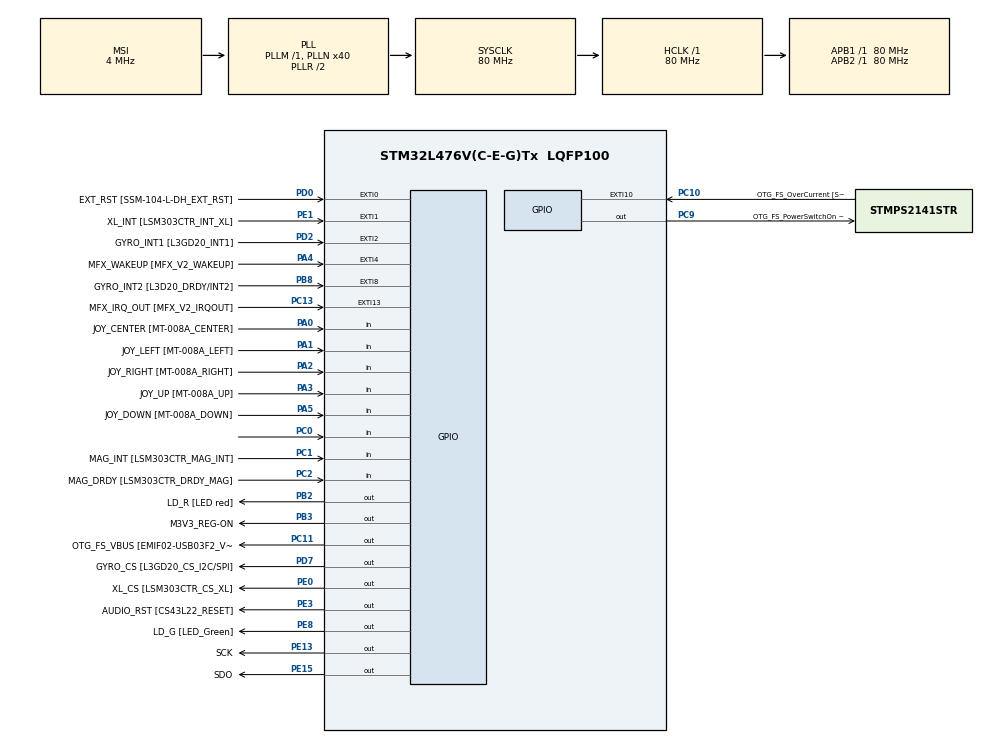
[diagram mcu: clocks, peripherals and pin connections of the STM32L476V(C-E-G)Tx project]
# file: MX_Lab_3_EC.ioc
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Mcu.Family=STM32L4
Mcu.Name=STM32L476V(C-E-G)Tx
Mcu.Package=LQFP100
NVIC.PriorityGroup=NVIC_PRIORITYGROUP_4
PA0.GPIO_Label=JOY_CENTER [MT-008A_CENTER]
PA0.GPIO_Mode=GPIO_MODE_INPUT
PA0.GPIO_PuPd=GPIO_PULLDOWN
PA0.Signal=GPIO_Input
PA1.GPIO_Label=JOY_LEFT [MT-008A_LEFT]
PA1.GPIO_Mode=GPIO_MODE_INPUT
PA1.GPIO_PuPd=GPIO_PULLDOWN
PA1.Signal=GPIO_Input
PA10.GPIO_Label=COM2 [GH08172T_COM2]
PA10.GPIO_Mode=GPIO_MODE_AF_PP
PA10.GPIO_PuPd=GPIO_NOPULL
PA10.GPIO_Speed=GPIO_SPEED_FREQ_LOW
PA10.Signal=LCD_COM2
PA11.GPIO_Label=OTG_FS_DM [EMIF02-USB03F2_D-out]
PA11.GPIO_Mode=GPIO_MODE_AF_PP
PA11.GPIO_PuPd=GPIO_NOPULL
PA11.GPIO_Speed=GPIO_SPEED_FREQ_VERY_HIGH
PA11.Signal=USB_OTG_FS_DM
PA12.GPIO_Label=OTG_FS_DP [EMIF02-USB03F2_D+out]
PA12.GPIO_Mode=GPIO_MODE_AF_PP
PA12.GPIO_PuPd=GPIO_NOPULL
PA12.GPIO_Speed=GPIO_SPEED_FREQ_VERY_HIGH
PA12.Signal=USB_OTG_FS_DP
PA13\ (JTMS-SWDIO).GPIO_Label=SWDIO
PA13\ (JTMS-SWDIO).Mode=Serial_Wire
PA13\ (JTMS-SWDIO).Signal=SYS_JTMS-SWDIO
PA14\ (JTCK-SWCLK).GPIO_Label=SWCLK
PA14\ (JTCK-SWCLK).Mode=Serial_Wire
PA14\ (JTCK-SWCLK).Signal=SYS_JTCK-SWCLK
PA15\ (JTDI).GPIO_Label=SEG10 [GH08172T_SEG10]
PA15\ (JTDI).GPIO_Mode=GPIO_MODE_AF_PP
PA15\ (JTDI).GPIO_PuPd=GPIO_NOPULL
PA15\ (JTDI).GPIO_Speed=GPIO_SPEED_FREQ_LOW
PA15\ (JTDI).Signal=LCD_SEG17
PA2.GPIO_Label=JOY_RIGHT [MT-008A_RIGHT]
PA2.GPIO_Mode=GPIO_MODE_INPUT
PA2.GPIO_PuPd=GPIO_PULLDOWN
PA2.Signal=GPIO_Input
PA3.GPIO_Label=JOY_UP [MT-008A_UP]
PA3.GPIO_Mode=GPIO_MODE_INPUT
PA3.GPIO_PuPd=GPIO_PULLDOWN
PA3.Signal=GPIO_Input
PA4.GPIO_Label=MFX_WAKEUP [MFX_V2_WAKEUP]
PA4.GPIO_ModeDefaultEXTI=GPIO_MODE_EVT_RISING
PA4.GPIO_PuPd=GPIO_NOPULL
PA4.Signal=GPXTI4
PA5.GPIO_Label=JOY_DOWN [MT-008A_DOWN]
PA5.GPIO_Mode=GPIO_MODE_INPUT
PA5.GPIO_PuPd=GPIO_PULLDOWN
PA5.Signal=GPIO_Input
PA6.GPIO_Label=SEG23 [GH08172T_SEG23]
PA6.GPIO_Mode=GPIO_MODE_AF_PP
PA6.GPIO_PuPd=GPIO_NOPULL
PA6.GPIO_Speed=GPIO_SPEED_FREQ_LOW
PA6.Signal=LCD_SEG3
PA7.GPIO_Label=SEG0 [GH08172T_SEG0]
PA7.GPIO_Mode=GPIO_MODE_AF_PP
PA7.GPIO_PuPd=GPIO_NOPULL
PA7.GPIO_Speed=GPIO_SPEED_FREQ_LOW
PA7.Signal=LCD_SEG4
PA8.GPIO_Label=COM0 [GH08172T_COM0]
PA8.GPIO_Mode=GPIO_MODE_AF_PP
PA8.GPIO_PuPd=GPIO_NOPULL
PA8.GPIO_Speed=GPIO_SPEED_FREQ_LOW
PA8.Signal=LCD_COM0
PA9.GPIO_Label=COM1 [GH08172T_COM1]
PA9.GPIO_Mode=GPIO_MODE_AF_PP
PA9.GPIO_PuPd=GPIO_NOPULL
PA9.GPIO_Speed=GPIO_SPEED_FREQ_LOW
PA9.Signal=LCD_COM1
PB0.GPIO_Label=SEG21 [GH08172T_SEG21]
PB0.GPIO_Mode=GPIO_MODE_AF_PP
PB0.GPIO_PuPd=GPIO_NOPULL
PB0.GPIO_Speed=GPIO_SPEED_FREQ_LOW
PB0.Signal=LCD_SEG5
PB1.GPIO_Label=SEG2 [GH08172T_SEG2]
PB1.GPIO_Mode=GPIO_MODE_AF_PP
PB1.GPIO_PuPd=GPIO_NOPULL
PB1.GPIO_Speed=GPIO_SPEED_FREQ_LOW
PB1.Signal=LCD_SEG6
PB10.GPIO_Label=MFX_I2C_SLC [MFX_V2_I2C_SCL]
PB10.GPIO_Mode=GPIO_MODE_AF_OD
PB10.GPIO_Pu=GPIO_PULLUP
PB10.GPIO_Speed=GPIO_SPEED_FREQ_VERY_HIGH
PB10.Signal=I2C2_SCL
PB11.GPIO_Label=MFX_I2C_SDA [MFX_V2_I2C_SDA]
PB11.GPIO_Mode=GPIO_MODE_AF_OD
PB11.GPIO_Pu=GPIO_PULLUP
PB11.GPIO_Speed=GPIO_SPEED_FREQ_VERY_HIGH
PB11.Signal=I2C2_SDA
PB12.GPIO_Label=SEG20 [GH08172T_SEG20]
PB12.GPIO_Mode=GPIO_MODE_AF_PP
PB12.GPIO_PuPd=GPIO_NOPULL
PB12.GPIO_Speed=GPIO_SPEED_FREQ_LOW
PB12.Signal=LCD_SEG12
PB13.GPIO_Label=SEG3 [GH08172T_SEG3]
PB13.GPIO_Mode=GPIO_MODE_AF_PP
PB13.GPIO_PuPd=GPIO_NOPULL
PB13.GPIO_Speed=GPIO_SPEED_FREQ_LOW
PB13.Signal=LCD_SEG13
PB14.GPIO_Label=SEG19 [GH08172T_SEG19]
PB14.GPIO_Mode=GPIO_MODE_AF_PP
PB14.GPIO_PuPd=GPIO_NOPULL
PB14.GPIO_Speed=GPIO_SPEED_FREQ_LOW
PB14.Signal=LCD_SEG14
PB15.GPIO_Label=SEG4 [GH08172T_SEG4]
PB15.GPIO_Mode=GPIO_MODE_AF_PP
PB15.GPIO_PuPd=GPIO_NOPULL
PB15.GPIO_Speed=GPIO_SPEED_FREQ_LOW
PB15.Signal=LCD_SEG15
PB2.GPIO_Label=LD_R [LED red]
PB2.GPIO_ModeDefaultOutputPP=GPIO_MODE_OUTPUT_PP
PB2.GPIO_PuPd=GPIO_PULLUP
PB2.GPIO_Speed=GPIO_SPEED_FREQ_VERY_HIGH
PB2.Signal=GPIO_Output
PB3\ (JTDO-TRACESWO).GPIO_Label=M3V3_REG-ON
PB3\ (JTDO-TRACESWO).GPIO_ModeDefaultOutputPP=GPIO_MODE_OUTPUT_PP
PB3\ (JTDO-TRACESWO).GPIO_PuPd=GPIO_NOPULL
PB3\ (JTDO-TRACESWO).GPIO_Speed=GPIO_SPEED_FREQ_LOW
PB3\ (JTDO-TRACESWO).Signal=GPIO_Output
PB4\ (NJTRST).GPIO_Label=SEG11 [GH08172T_SEG11]
PB4\ (NJTRST).GPIO_Mode=GPIO_MODE_AF_PP
PB4\ (NJTRST).GPIO_PuPd=GPIO_NOPULL
PB4\ (NJTRST).GPIO_Speed=GPIO_SPEED_FREQ_LOW
PB4\ (NJTRST).Signal=LCD_SEG8
PB5.GPIO_Label=SEG12 [GH08172T_SEG12]
PB5.GPIO_Mode=GPIO_MODE_AF_PP
PB5.GPIO_PuPd=GPIO_NOPULL
PB5.GPIO_Speed=GPIO_SPEED_FREQ_LOW
PB5.Signal=LCD_SEG9
PB6.GPIO_FM6=__NULL
PB6.GPIO_Label=I2C1_SCL [SSM-104-L-DH_SCL]
PB6.GPIO_Mode=GPIO_MODE_AF_OD
PB6.GPIO_Pu=GPIO_PULLUP
PB6.GPIO_Speed=GPIO_SPEED_FREQ_VERY_HIGH
PB6.Signal=I2C1_SCL
PB7.GPIO_FM7=__NULL
PB7.GPIO_Label=I2C1_SDA [SSM-104-L-DH_SDA]
PB7.GPIO_Mode=GPIO_MODE_AF_OD
PB7.GPIO_Pu=GPIO_PULLUP
PB7.GPIO_Speed=GPIO_SPEED_FREQ_VERY_HIGH
PB7.Signal=I2C1_SDA
PB8.GPIO_Label=GYRO_INT2 [L3D20_DRDY/INT2]
PB8.GPIO_ModeDefaultEXTI=GPIO_MODE_EVT_RISING
PB8.GPIO_PuPd=GPIO_NOPULL
PB8.Signal=GPXTI8
PB9.GPIO_FM9=__NULL
PB9.GPIO_Label=COM3 [GH08172T_COM3]
PB9.GPIO_Mode=GPIO_MODE_AF_PP
PB9.GPIO_PuPd=GPIO_NOPULL
PB9.GPIO_Speed=GPIO_SPEED_FREQ_LOW
PB9.Signal=LCD_COM3
PC0.Signal=GPIO_Input
PC1.GPIO_Label=MAG_INT [LSM303CTR_MAG_INT]
PC1.GPIO_Mode=GPIO_MODE_INPUT
PC1.GPIO_PuPd=GPIO_NOPULL
PC1.Signal=GPIO_Input
PC10.GPIO_Label=OTG_FS_OverCurrent [STMPS2141STR_FAULT]
PC10.GPIO_ModeDefaultEXTI=GPIO_MODE_EVT_RISING
PC10.GPIO_PuPd=GPIO_NOPULL
PC10.Signal=GPXTI10
PC11.GPIO_Label=OTG_FS_VBUS [EMIF02-USB03F2_Vbus]
PC11.GPIO_ModeDefaultOutputPP=GPIO_MODE_OUTPUT_PP
PC11.GPIO_PuPd=GPIO_NOPULL
PC11.GPIO_Speed=GPIO_SPEED_FREQ_LOW
PC11.Signal=GPIO_Output
PC13.GPIO_Label=MFX_IRQ_OUT [MFX_V2_IRQOUT]
PC13.GPIO_ModeDefaultEXTI=GPIO_MODE_EVT_RISING
PC13.GPIO_PuPd=GPIO_NOPULL
PC13.Signal=GPXTI13
PC14-OSC32_IN\ (PC14).Mode=LSE-External-Oscillator
PC14-OSC32_IN\ (PC14).Signal=RCC_OSC32_IN
PC15-OSC32_OUT\ (PC15).Mode=LSE-External-Oscillator
PC15-OSC32_OUT\ (PC15).Signal=RCC_OSC32_OUT
PC2.GPIO_Label=MAG_DRDY [LSM303CTR_DRDY_MAG]
PC2.GPIO_Mode=GPIO_MODE_INPUT
PC2.GPIO_PuPd=GPIO_NOPULL
PC2.Signal=GPIO_Input
PC3.GPIO_Label=VLCD
PC3.GPIO_Mode=GPIO_MODE_AF_PP
PC3.GPIO_PuPd=GPIO_NOPULL
PC3.GPIO_Speed=GPIO_SPEED_FREQ_LOW
PC3.Signal=LCD_VLCD
PC4.GPIO_Label=SEG22 [GH08172T_SEG22]
PC4.GPIO_Mode=GPIO_MODE_AF_PP
PC4.GPIO_PuPd=GPIO_NOPULL
PC4.GPIO_Speed=GPIO_SPEED_FREQ_LOW
PC4.Signal=LCD_SEG22
PC5.GPIO_Label=SEG1 [GH08172T_SEG1]
PC5.GPIO_Mode=GPIO_MODE_AF_PP
PC5.GPIO_PuPd=GPIO_NOPULL
PC5.GPIO_Speed=GPIO_SPEED_FREQ_LOW
PC5.Signal=LCD_SEG23
PC6.GPIO_Label=SEG14 [GH08172T_SEG14]
PC6.GPIO_Mode=GPIO_MODE_AF_PP
PC6.GPIO_PuPd=GPIO_NOPULL
PC6.GPIO_Speed=GPIO_SPEED_FREQ_LOW
PC6.Signal=LCD_SEG24
PC7.GPIO_Label=SEG9 [GH08172T_SEG9]
PC7.GPIO_Mode=GPIO_MODE_AF_PP
PC7.GPIO_PuPd=GPIO_NOPULL
PC7.GPIO_Speed=GPIO_SPEED_FREQ_LOW
PC7.Signal=LCD_SEG25
PC8.GPIO_Label=SEG13 [GH08172T_SEG13]
PC8.GPIO_Mode=GPIO_MODE_AF_PP
PC8.GPIO_PuPd=GPIO_NOPULL
PC8.GPIO_Speed=GPIO_SPEED_FREQ_LOW
PC8.Signal=LCD_SEG26
PC9.GPIO_Label=OTG_FS_PowerSwitchOn [STMPS2141STR_EN]
PC9.GPIO_ModeDefaultOutputPP=GPIO_MODE_OUTPUT_PP
PC9.GPIO_PuPd=GPIO_NOPULL
PC9.GPIO_Speed=GPIO_SPEED_FREQ_LOW
PC9.PinState=GPIO_PIN_SET
PC9.Signal=GPIO_Output
PD0.GPIO_Label=EXT_RST [SSM-104-L-DH_EXT_RST]
PD0.GPIO_ModeDefaultEXTI=GPIO_MODE_EVT_RISING
PD0.GPIO_PuPd=GPIO_NOPULL
PD0.Signal=GPXTI0
PD1.GPIO_Label=MEMS_SCK [L3GD20_SCL/SPC]
PD1.GPIO_Mode=GPIO_MODE_AF_PP
PD1.GPIO_PuPd=GPIO_NOPULL
PD1.GPIO_Speed=GPIO_SPEED_FREQ_VERY_HIGH
PD1.Signal=SPI2_SCK
PD10.GPIO_Label=SEG17 [GH08172T_SEG17]
PD10.GPIO_Mode=GPIO_MODE_AF_PP
PD10.GPIO_PuPd=GPIO_NOPULL
PD10.GPIO_Speed=GPIO_SPEED_FREQ_LOW
PD10.Signal=LCD_SEG30
PD11.GPIO_Label=SEG6 [GH08172T_SEG6]
PD11.GPIO_Mode=GPIO_MODE_AF_PP
PD11.GPIO_PuPd=GPIO_NOPULL
PD11.GPIO_Speed=GPIO_SPEED_FREQ_LOW
PD11.Signal=LCD_SEG31
PD12.GPIO_Label=SEG16 [GH08172T_SEG16]
PD12.GPIO_Mode=GPIO_MODE_AF_PP
PD12.GPIO_PuPd=GPIO_NOPULL
PD12.GPIO_Speed=GPIO_SPEED_FREQ_LOW
PD12.Signal=LCD_SEG32
PD13.GPIO_Label=SEG7 [GH08172T_SEG7]
PD13.GPIO_Mode=GPIO_MODE_AF_PP
PD13.GPIO_PuPd=GPIO_NOPULL
PD13.GPIO_Speed=GPIO_SPEED_FREQ_LOW
PD13.Signal=LCD_SEG33
PD14.GPIO_Label=SEG15 [GH08172T_SEG15]
PD14.GPIO_Mode=GPIO_MODE_AF_PP
PD14.GPIO_PuPd=GPIO_NOPULL
PD14.GPIO_Speed=GPIO_SPEED_FREQ_LOW
PD14.Signal=LCD_SEG34
PD15.GPIO_Label=SEG8 [GH08172T_SEG8]
PD15.GPIO_Mode=GPIO_MODE_AF_PP
PD15.GPIO_PuPd=GPIO_NOPULL
PD15.GPIO_Speed=GPIO_SPEED_FREQ_LOW
PD15.Signal=LCD_SEG35
PD2.GPIO_Label=GYRO_INT1 [L3GD20_INT1]
PD2.GPIO_ModeDefaultEXTI=GPIO_MODE_EVT_RISING
PD2.GPIO_PuPd=GPIO_NOPULL
PD2.Signal=GPXTI2
PD3.GPIO_Label=MEMS_MISO [L3GD20_SA0/SDO]
PD3.GPIO_Mode=GPIO_MODE_AF_PP
PD3.GPIO_PuPd=GPIO_NOPULL
PD3.GPIO_Speed=GPIO_SPEED_FREQ_VERY_HIGH
PD3.Signal=SPI2_MISO
PD4.GPIO_Label=MEMS_MOSI [L3GD20_SDA/SDI/SDO]
PD4.GPIO_Mode=GPIO_MODE_AF_PP
PD4.GPIO_PuPd=GPIO_NOPULL
PD4.GPIO_Speed=GPIO_SPEED_FREQ_VERY_HIGH
PD4.Signal=SPI2_MOSI
PD5.GPIO_Label=USART_TX
PD5.GPIO_Mode=GPIO_MODE_AF_PP
PD5.GPIO_PuPd=GPIO_PULLUP
PD5.GPIO_Speed=GPIO_SPEED_FREQ_VERY_HIGH
PD5.Signal=USART2_TX
PD6.GPIO_Label=USART_RX
PD6.GPIO_Mode=GPIO_MODE_AF_PP
PD6.GPIO_PuPd=GPIO_PULLUP
PD6.GPIO_Speed=GPIO_SPEED_FREQ_VERY_HIGH
PD6.Signal=USART2_RX
PD7.GPIO_Label=GYRO_CS [L3GD20_CS_I2C/SPI]
PD7.GPIO_ModeDefaultOutputPP=GPIO_MODE_OUTPUT_PP
PD7.GPIO_PuPd=GPIO_NOPULL
PD7.GPIO_Speed=GPIO_SPEED_FREQ_VERY_HIGH
PD7.Signal=GPIO_Output
PD8.GPIO_Label=SEG18 [GH08172T_SEG18]
PD8.GPIO_Mode=GPIO_MODE_AF_PP
PD8.GPIO_PuPd=GPIO_NOPULL
PD8.GPIO_Speed=GPIO_SPEED_FREQ_LOW
PD8.Signal=LCD_SEG28
PD9.GPIO_Label=SEG5 [GH08172T_SEG5]
PD9.GPIO_Mode=GPIO_MODE_AF_PP
PD9.GPIO_PuPd=GPIO_NOPULL
PD9.GPIO_Speed=GPIO_SPEED_FREQ_LOW
PD9.Signal=LCD_SEG29
PE0.GPIO_Label=XL_CS [LSM303CTR_CS_XL]
PE0.GPIO_ModeDefaultOutputPP=GPIO_MODE_OUTPUT_PP
PE0.GPIO_PuPd=GPIO_NOPULL
PE0.GPIO_Speed=GPIO_SPEED_FREQ_LOW
PE0.Signal=GPIO_Output
PE1.GPIO_Label=XL_INT [LSM303CTR_INT_XL]
PE1.GPIO_ModeDefaultEXTI=GPIO_MODE_EVT_RISING
PE1.GPIO_PuPd=GPIO_NOPULL
PE1.Signal=GPXTI1
PE10.GPIO_Label=QSPI_CLK [N25Q128A13EF840E_C]
PE10.GPIO_Mode=GPIO_MODE_AF_PP
PE10.GPIO_PuPd=GPIO_NOPULL
PE10.GPIO_Speed=GPIO_SPEED_FREQ_VERY_HIGH
PE10.Signal=QUADSPI_CLK
PE11.GPIO_Label=QSPI_CS [N25Q128A13EF840E_S\#]
PE11.GPIO_Mode=GPIO_MODE_AF_PP
PE11.GPIO_PuPd=GPIO_NOPULL
PE11.GPIO_Speed=GPIO_SPEED_FREQ_VERY_HIGH
PE11.Signal=QUADSPI_NCS
PE12.GPIO_Label=QSPI_D0 [N25Q128A13EF840E_DQ0]
PE12.GPIO_Mode=GPIO_MODE_AF_PP
PE12.GPIO_PuPd=GPIO_NOPULL
PE12.GPIO_Speed=GPIO_SPEED_FREQ_VERY_HIGH
PE12.Signal=QUADSPI_BK1_IO0
PE13.GPIO_Label=SCK
PE13.GPIO_Speed=GPIO_SPEED_FREQ_MEDIUM
PE13.Signal=GPIO_Output
PE14.GPIO_Label=QSPI_D2 [N25Q128A13EF840E_DQ2]
PE14.GPIO_Mode=GPIO_MODE_AF_PP
PE14.GPIO_PuPd=GPIO_NOPULL
PE14.GPIO_Speed=GPIO_SPEED_FREQ_VERY_HIGH
PE14.Signal=QUADSPI_BK1_IO2
PE15.GPIO_Label=SDO
PE15.GPIO_Speed=GPIO_SPEED_FREQ_MEDIUM
PE15.Signal=GPIO_Output
PE2.GPIO_Label=SAI1_MCK [CS43L22_MCLK]
PE2.GPIO_Mode=GPIO_MODE_AF_PP
PE2.GPIO_PuPd=GPIO_NOPULL
PE2.GPIO_Speed=GPIO_SPEED_FREQ_VERY_HIGH
PE2.Signal=SAI1_MCLK_A
PE3.GPIO_Label=AUDIO_RST [CS43L22_RESET]
PE3.GPIO_ModeDefaultOutputPP=GPIO_MODE_OUTPUT_PP
PE3.GPIO_PuPd=GPIO_NOPULL
PE3.GPIO_Speed=GPIO_SPEED_FREQ_HIGH
PE3.Signal=GPIO_Output
PE4.GPIO_Label=SAI1_FS [CS43L22_LRCK]
PE4.GPIO_Mode=GPIO_MODE_AF_PP
PE4.GPIO_PuPd=GPIO_NOPULL
PE4.GPIO_Speed=GPIO_SPEED_FREQ_VERY_HIGH
PE4.Signal=SAI1_FS_A
PE5.GPIO_Label=SAI1_SCK [CS43L22_SCLK]
PE5.GPIO_Mode=GPIO_MODE_AF_PP
PE5.GPIO_PuPd=GPIO_NOPULL
PE5.GPIO_Speed=GPIO_SPEED_FREQ_VERY_HIGH
PE5.Signal=SAI1_SCK_A
PE6.GPIO_Label=SAI1_SD [CS43L22_SDIN]
PE6.GPIO_Mode=GPIO_MODE_AF_PP
PE6.GPIO_PuPd=GPIO_NOPULL
PE6.GPIO_Speed=GPIO_SPEED_FREQ_VERY_HIGH
PE6.Signal=SAI1_SD_A
PE7.GPIO_Label=AUDIO_DIN [MP34DT01_DOUT]
PE7.GPIO_Mode=GPIO_MODE_AF_PP
PE7.GPIO_PuPd=GPIO_NOPULL
PE7.GPIO_Speed=GPIO_SPEED_FREQ_VERY_HIGH
PE7.Signal=SAI1_SD_B
PE8.GPIO_Label=LD_G [LED_Green]
PE8.GPIO_ModeDefaultOutputPP=GPIO_MODE_OUTPUT_PP
PE8.GPIO_PuPd=GPIO_PULLUP
PE8.GPIO_Speed=GPIO_SPEED_FREQ_VERY_HIGH
PE8.Signal=GPIO_Output
PE9.GPIO_Label=AUDIO_CLK [MP34DT01_CLK]
PE9.GPIO_Mode=GPIO_MODE_AF_PP
PE9.GPIO_PuPd=GPIO_NOPULL
PE9.GPIO_Speed=GPIO_SPEED_FREQ_LOW
PE9.Signal=SAI1_FS_B
PH0-OSC_IN\ (PH0).Mode=HSE-External-Oscillator
PH0-OSC_IN\ (PH0).Signal=RCC_OSC_IN
PH1-OSC_OUT\ (PH1).Mode=HSE-External-Oscillator
PH1-OSC_OUT\ (PH1).Signal=RCC_OSC_OUT
ProjectManager.HeapSize=0x200
ProjectManager.StackSize=0x400
ProjectManager.TargetToolchain=MDK-ARM V5.32
RCC.ADCFreq_Value=48000000
RCC.AHBFreq_Value=80000000
RCC.APB1Freq_Value=80000000
RCC.APB1TimFreq_Value=80000000
RCC.APB2Freq_Value=80000000
RCC.APB2TimFreq_Value=80000000
RCC.CortexFreq_Value=80000000
RCC.HCLKFreq_Value=80000000
RCC.HSE_VALUE=8000000
RCC.HSI_VALUE=16000000
RCC.MSI_VALUE=4000000
RCC.PLLN=40
RCC.PLLSAI1N=24
RCC.PREFETCH_ENABLE=1
RCC.SYSCLKFreq_VALUE=80000000
RCC.SYSCLKSource=RCC_SYSCLKSOURCE_PLLCLK
RCC.USBFreq_Value=48000000
RCC.VCOOutputFreq_Value=160000000
VP_RTC_VS_RTC_Activate.Mode=RTC_Enabled
board=STM32L476G-DISCO

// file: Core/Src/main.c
/* USER CODE BEGIN Header */
/**
  ******************************************************************************
  * @file           : main.c
  * @brief          : Main program body
  ******************************************************************************
  * @attention
  *
  * Copyright (c) 2024 STMicroelectronics.
  * All rights reserved.
  *
  * This software is licensed under terms that can be found in the LICENSE file
  * in the root directory of this software component.
  * If no LICENSE file comes with this software, it is provided AS-IS.
  *
  ******************************************************************************
  */
/* USER CODE END Header */
#include "main.h"

RTC_HandleTypeDef hrtc;

void SystemClock_Config(void);
static void MX_GPIO_Init(void);
static void MX_RTC_Init(void);

/* USER CODE BEGIN 0 */
/*****************************
/ send 32 bits out the SPI port - MSB first
 send out the 32 bits of c
 sclk starts low and ends low
 SCK_Pin is the SPI clock pin;
 SCK_GPIO_Port is the port
 SDO_Pin is the SPI data pin;
 SDO_GPIO_Port is the port */
int globalCount = 0;
uint32_t start = 0x00000000;
uint32_t end = 0xffffffff;
uint32_t red = 0xe40000ff;
uint32_t blue = 0xe4ff0000;
uint32_t green = 0xe400ff00;
uint32_t yellow = 0xe400a8ff;
uint32_t orange = 0xe40024ff;
uint32_t purple = 0xe4cf00ff;
uint32_t rainbow[6] = {0xe40000ff, 0xe40024ff, 0xe400a8ff, 0xe400ff00, 0xe4ff0000, 0xe4cf00ff};
uint32_t black = 0xe0000000;
void spi32(unsigned int c)
{
	int i;
  for (i = 0; i < 32; ++i) {
      if (c & 0x80000000)
				{
            HAL_GPIO_WritePin(SDO_GPIO_Port, SDO_Pin, GPIO_PIN_SET);
				}
        else
				{
            HAL_GPIO_WritePin(SDO_GPIO_Port, SDO_Pin, GPIO_PIN_RESET);
				}
        HAL_GPIO_WritePin(SCK_GPIO_Port, SCK_Pin, GPIO_PIN_SET);
				HAL_GPIO_WritePin(SCK_GPIO_Port, SCK_Pin, GPIO_PIN_RESET);
        c <<= 1;
		}
}
void send_array(uint32_t header, uint32_t color, uint32_t end)
{
	int i;
	spi32(header);
	for(i=0; i < 60; i++)
	{
		spi32(color);
	}
	spi32(end);
}
void bluemove (uint32_t header, uint32_t color, uint32_t end)
{
	uint32_t blue = 0xe4ff0000;
	int i;
	spi32(header);
	for(i=0; i < 60; i++)
	{
		if (i==globalCount)
		{
			spi32(blue);
		}
		else
		{
			spi32(color);
		}

	}
	spi32(end);
	globalCount++;
	if(globalCount > 60)
	{
		globalCount=0; //
	}

}
void rainbowMoveRtoL()
{
	int i;
	spi32(start);
	for(i=0; i < 60; i++)
	{
		int x = (globalCount + i) % 6;
		spi32(rainbow[x]);
	}
	spi32(end);
	globalCount+=5;
	if(globalCount ==30)
	{
		globalCount = 0;
	}
}
void rainbowMoveLtoR()
{
	int i;
	spi32(start);
	for(i=0; i < 60; i++)
	{
		int x = (globalCount + i) % 6;
		spi32(rainbow[x]);
	}
	spi32(end);
	globalCount++;
	if(globalCount ==6)
	{
		globalCount = 0;
	}
}
/* USER CODE END 0 */

int main(void)
{

  /* MCU Configuration--------------------------------------------------------*/

  /* Reset of all peripherals, Initializes the Flash interface and the Systick. */
  HAL_Init();

  /* Configure the system clock */
  SystemClock_Config();

  /* Initialize all configured peripherals */
  MX_GPIO_Init();
  MX_RTC_Init();
  /* USER CODE BEGIN 2 */
	uint32_t start = 0x00000000;
	uint32_t end = 0xffffffff;
	uint32_t red = 0xe40000ff;
	uint32_t blue = 0xe4ff0000;
	uint32_t green = 0xe400ff00;
	uint32_t black = 0xe0000000;
	//send_array(start, red ,end);
  /* USER CODE END 2 */

  /* Infinite loop */
  /* USER CODE BEGIN WHILE */
  while (1)
  {
		//changes direction after 60 iterations endlessly
		int i;
		for(i=0; i < 60;i++)
		{
			rainbowMoveRtoL();
			HAL_Delay(100);
		}
		for(i=0; i < 60;i++)
		{
			rainbowMoveLtoR();
			HAL_Delay(100);
		}

    /* USER CODE END WHILE */

  }
}

void SystemClock_Config(void)
{
  RCC_OscInitTypeDef RCC_OscInitStruct = {0};
  RCC_ClkInitTypeDef RCC_ClkInitStruct = {0};

  /** Configure the main internal regulator output voltage
  */
  if (HAL_PWREx_ControlVoltageScaling(PWR_REGULATOR_VOLTAGE_SCALE1) != HAL_OK)
  {
    Error_Handler();
  }

  /** Configure LSE Drive Capability
  */
  HAL_PWR_EnableBkUpAccess();
  __HAL_RCC_LSEDRIVE_CONFIG(RCC_LSEDRIVE_LOW);

  /** Initializes the RCC Oscillators according to the specified parameters
  * in the RCC_OscInitTypeDef structure.
  */
  RCC_OscInitStruct.OscillatorType = RCC_OSCILLATORTYPE_LSI|RCC_OSCILLATORTYPE_LSE
                              |RCC_OSCILLATORTYPE_MSI;
  RCC_OscInitStruct.LSEState = RCC_LSE_ON;
  RCC_OscInitStruct.LSIState = RCC_LSI_ON;
  RCC_OscInitStruct.MSIState = RCC_MSI_ON;
  RCC_OscInitStruct.MSICalibrationValue = 0;
  RCC_OscInitStruct.MSIClockRange = RCC_MSIRANGE_6;
  RCC_OscInitStruct.PLL.PLLState = RCC_PLL_ON;
  RCC_OscInitStruct.PLL.PLLSource = RCC_PLLSOURCE_MSI;
  RCC_OscInitStruct.PLL.PLLM = 1;
  RCC_OscInitStruct.PLL.PLLN = 40;
  RCC_OscInitStruct.PLL.PLLP = RCC_PLLP_DIV7;
  RCC_OscInitStruct.PLL.PLLQ = RCC_PLLQ_DIV2;
  RCC_OscInitStruct.PLL.PLLR = RCC_PLLR_DIV2;
  if (HAL_RCC_OscConfig(&RCC_OscInitStruct) != HAL_OK)
  {
    Error_Handler();
  }

  /** Initializes the CPU, AHB and APB buses clocks
  */
  RCC_ClkInitStruct.ClockType = RCC_CLOCKTYPE_HCLK|RCC_CLOCKTYPE_SYSCLK
                              |RCC_CLOCKTYPE_PCLK1|RCC_CLOCKTYPE_PCLK2;
  RCC_ClkInitStruct.SYSCLKSource = RCC_SYSCLKSOURCE_PLLCLK;
  RCC_ClkInitStruct.AHBCLKDivider = RCC_SYSCLK_DIV1;
  RCC_ClkInitStruct.APB1CLKDivider = RCC_HCLK_DIV1;
  RCC_ClkInitStruct.APB2CLKDivider = RCC_HCLK_DIV1;

  if (HAL_RCC_ClockConfig(&RCC_ClkInitStruct, FLASH_LATENCY_4) != HAL_OK)
  {
    Error_Handler();
  }

  /** Enable MSI Auto calibration
  */
  HAL_RCCEx_EnableMSIPLLMode();
}

static void MX_RTC_Init(void)
{

  /** Initialize RTC Only
  */
  hrtc.Instance = RTC;
  hrtc.Init.HourFormat = RTC_HOURFORMAT_24;
  hrtc.Init.AsynchPrediv = 127;
  hrtc.Init.SynchPrediv = 255;
  hrtc.Init.OutPut = RTC_OUTPUT_DISABLE;
  hrtc.Init.OutPutRemap = RTC_OUTPUT_REMAP_NONE;
  hrtc.Init.OutPutPolarity = RTC_OUTPUT_POLARITY_HIGH;
  hrtc.Init.OutPutType = RTC_OUTPUT_TYPE_OPENDRAIN;
  if (HAL_RTC_Init(&hrtc) != HAL_OK)
  {
    Error_Handler();
  }

}

static void MX_GPIO_Init(void)
{
  GPIO_InitTypeDef GPIO_InitStruct = {0};

  /* GPIO Ports Clock Enable */
  __HAL_RCC_GPIOE_CLK_ENABLE();
  __HAL_RCC_GPIOC_CLK_ENABLE();
  __HAL_RCC_GPIOH_CLK_ENABLE();
  __HAL_RCC_GPIOA_CLK_ENABLE();
  __HAL_RCC_GPIOB_CLK_ENABLE();
  __HAL_RCC_GPIOD_CLK_ENABLE();

  /*Configure GPIO pin Output Level */
  HAL_GPIO_WritePin(GPIOE, AUDIO_RST_Pin|LD_G_Pin|SCK_Pin|SDO_Pin
                          |XL_CS_Pin, GPIO_PIN_RESET);

  /*Configure GPIO pin Output Level */
  HAL_GPIO_WritePin(GPIOB, LD_R_Pin|M3V3_REG_ON_Pin, GPIO_PIN_RESET);

  /*Configure GPIO pin Output Level */
  HAL_GPIO_WritePin(OTG_FS_PowerSwitchOn_GPIO_Port, OTG_FS_PowerSwitchOn_Pin, GPIO_PIN_SET);

  /*Configure GPIO pin Output Level */
  HAL_GPIO_WritePin(OTG_FS_VBUS_GPIO_Port, OTG_FS_VBUS_Pin, GPIO_PIN_RESET);

  /*Configure GPIO pin Output Level */
  HAL_GPIO_WritePin(GYRO_CS_GPIO_Port, GYRO_CS_Pin, GPIO_PIN_RESET);

  /*Configure GPIO pins : SAI1_MCK_Pin SAI1_FS_Pin SAI1_SCK_Pin SAI1_SD_Pin
                           AUDIO_DIN_Pin */
  GPIO_InitStruct.Pin = SAI1_MCK_Pin|SAI1_FS_Pin|SAI1_SCK_Pin|SAI1_SD_Pin
                          |AUDIO_DIN_Pin;
  GPIO_InitStruct.Mode = GPIO_MODE_AF_PP;
  GPIO_InitStruct.Pull = GPIO_NOPULL;
  GPIO_InitStruct.Speed = GPIO_SPEED_FREQ_VERY_HIGH;
  GPIO_InitStruct.Alternate = GPIO_AF13_SAI1;
  HAL_GPIO_Init(GPIOE, &GPIO_InitStruct);

  /*Configure GPIO pin : AUDIO_RST_Pin */
  GPIO_InitStruct.Pin = AUDIO_RST_Pin;
  GPIO_InitStruct.Mode = GPIO_MODE_OUTPUT_PP;
  GPIO_InitStruct.Pull = GPIO_NOPULL;
  GPIO_InitStruct.Speed = GPIO_SPEED_FREQ_HIGH;
  HAL_GPIO_Init(AUDIO_RST_GPIO_Port, &GPIO_InitStruct);

  /*Configure GPIO pins : MFX_IRQ_OUT_Pin OTG_FS_OverCurrent_Pin */
  GPIO_InitStruct.Pin = MFX_IRQ_OUT_Pin|OTG_FS_OverCurrent_Pin;
  GPIO_InitStruct.Mode = GPIO_MODE_EVT_RISING;
  GPIO_InitStruct.Pull = GPIO_NOPULL;
  HAL_GPIO_Init(GPIOC, &GPIO_InitStruct);

  /*Configure GPIO pins : PC0 MAG_INT_Pin MAG_DRDY_Pin */
  GPIO_InitStruct.Pin = GPIO_PIN_0|MAG_INT_Pin|MAG_DRDY_Pin;
  GPIO_InitStruct.Mode = GPIO_MODE_INPUT;
  GPIO_InitStruct.Pull = GPIO_NOPULL;
  HAL_GPIO_Init(GPIOC, &GPIO_InitStruct);

  /*Configure GPIO pins : VLCD_Pin SEG22_Pin SEG1_Pin SEG14_Pin
                           SEG9_Pin SEG13_Pin */
  GPIO_InitStruct.Pin = VLCD_Pin|SEG22_Pin|SEG1_Pin|SEG14_Pin
                          |SEG9_Pin|SEG13_Pin;
  GPIO_InitStruct.Mode = GPIO_MODE_AF_PP;
  GPIO_InitStruct.Pull = GPIO_NOPULL;
  GPIO_InitStruct.Speed = GPIO_SPEED_FREQ_LOW;
  GPIO_InitStruct.Alternate = GPIO_AF11_LCD;
  HAL_GPIO_Init(GPIOC, &GPIO_InitStruct);

  /*Configure GPIO pins : JOY_CENTER_Pin JOY_LEFT_Pin JOY_RIGHT_Pin JOY_UP_Pin
                           JOY_DOWN_Pin */
  GPIO_InitStruct.Pin = JOY_CENTER_Pin|JOY_LEFT_Pin|JOY_RIGHT_Pin|JOY_UP_Pin
                          |JOY_DOWN_Pin;
  GPIO_InitStruct.Mode = GPIO_MODE_INPUT;
  GPIO_InitStruct.Pull = GPIO_PULLDOWN;
  HAL_GPIO_Init(GPIOA, &GPIO_InitStruct);

  /*Configure GPIO pin : MFX_WAKEUP_Pin */
  GPIO_InitStruct.Pin = MFX_WAKEUP_Pin;
  GPIO_InitStruct.Mode = GPIO_MODE_EVT_RISING;
  GPIO_InitStruct.Pull = GPIO_NOPULL;
  HAL_GPIO_Init(MFX_WAKEUP_GPIO_Port, &GPIO_InitStruct);

  /*Configure GPIO pins : SEG23_Pin SEG0_Pin COM0_Pin COM1_Pin
                           COM2_Pin SEG10_Pin */
  GPIO_InitStruct.Pin = SEG23_Pin|SEG0_Pin|COM0_Pin|COM1_Pin
                          |COM2_Pin|SEG10_Pin;
  GPIO_InitStruct.Mode = GPIO_MODE_AF_PP;
  GPIO_InitStruct.Pull = GPIO_NOPULL;
  GPIO_InitStruct.Speed = GPIO_SPEED_FREQ_LOW;
  GPIO_InitStruct.Alternate = GPIO_AF11_LCD;
  HAL_GPIO_Init(GPIOA, &GPIO_InitStruct);

  /*Configure GPIO pins : SEG21_Pin SEG2_Pin SEG20_Pin SEG3_Pin
                           SEG19_Pin SEG4_Pin SEG11_Pin SEG12_Pin
                           COM3_Pin */
  GPIO_InitStruct.Pin = SEG21_Pin|SEG2_Pin|SEG20_Pin|SEG3_Pin
                          |SEG19_Pin|SEG4_Pin|SEG11_Pin|SEG12_Pin
                          |COM3_Pin;
  GPIO_InitStruct.Mode = GPIO_MODE_AF_PP;
  GPIO_InitStruct.Pull = GPIO_NOPULL;
  GPIO_InitStruct.Speed = GPIO_SPEED_FREQ_LOW;
  GPIO_InitStruct.Alternate = GPIO_AF11_LCD;
  HAL_GPIO_Init(GPIOB, &GPIO_InitStruct);

  /*Configure GPIO pin : LD_R_Pin */
  GPIO_InitStruct.Pin = LD_R_Pin;
  GPIO_InitStruct.Mode = GPIO_MODE_OUTPUT_PP;
  GPIO_InitStruct.Pull = GPIO_PULLUP;
  GPIO_InitStruct.Speed = GPIO_SPEED_FREQ_VERY_HIGH;
  HAL_GPIO_Init(LD_R_GPIO_Port, &GPIO_InitStruct);

  /*Configure GPIO pin : LD_G_Pin */
  GPIO_InitStruct.Pin = LD_G_Pin;
  GPIO_InitStruct.Mode = GPIO_MODE_OUTPUT_PP;
  GPIO_InitStruct.Pull = GPIO_PULLUP;
  GPIO_InitStruct.Speed = GPIO_SPEED_FREQ_VERY_HIGH;
  HAL_GPIO_Init(LD_G_GPIO_Port, &GPIO_InitStruct);

  /*Configure GPIO pin : AUDIO_CLK_Pin */
  GPIO_InitStruct.Pin = AUDIO_CLK_Pin;
  GPIO_InitStruct.Mode = GPIO_MODE_AF_PP;
  GPIO_InitStruct.Pull = GPIO_NOPULL;
  GPIO_InitStruct.Speed = GPIO_SPEED_FREQ_LOW;
  GPIO_InitStruct.Alternate = GPIO_AF13_SAI1;
  HAL_GPIO_Init(AUDIO_CLK_GPIO_Port, &GPIO_InitStruct);

  /*Configure GPIO pins : QSPI_CLK_Pin QSPI_CS_Pin QSPI_D0_Pin QSPI_D2_Pin */
  GPIO_InitStruct.Pin = QSPI_CLK_Pin|QSPI_CS_Pin|QSPI_D0_Pin|QSPI_D2_Pin;
  GPIO_InitStruct.Mode = GPIO_MODE_AF_PP;
  GPIO_InitStruct.Pull = GPIO_NOPULL;
  GPIO_InitStruct.Speed = GPIO_SPEED_FREQ_VERY_HIGH;
  GPIO_InitStruct.Alternate = GPIO_AF10_QUADSPI;
  HAL_GPIO_Init(GPIOE, &GPIO_InitStruct);

  /*Configure GPIO pins : SCK_Pin SDO_Pin */
  GPIO_InitStruct.Pin = SCK_Pin|SDO_Pin;
  GPIO_InitStruct.Mode = GPIO_MODE_OUTPUT_PP;
  GPIO_InitStruct.Pull = GPIO_NOPULL;
  GPIO_InitStruct.Speed = GPIO_SPEED_FREQ_MEDIUM;
  HAL_GPIO_Init(GPIOE, &GPIO_InitStruct);

  /*Configure GPIO pins : MFX_I2C_SLC_Pin MFX_I2C_SDA_Pin */
  GPIO_InitStruct.Pin = MFX_I2C_SLC_Pin|MFX_I2C_SDA_Pin;
  GPIO_InitStruct.Mode = GPIO_MODE_AF_OD;
  GPIO_InitStruct.Pull = GPIO_PULLUP;
  GPIO_InitStruct.Speed = GPIO_SPEED_FREQ_VERY_HIGH;
  GPIO_InitStruct.Alternate = GPIO_AF4_I2C2;
  HAL_GPIO_Init(GPIOB, &GPIO_InitStruct);

  /*Configure GPIO pins : SEG18_Pin SEG5_Pin SEG17_Pin SEG6_Pin
                           SEG16_Pin SEG7_Pin SEG15_Pin SEG8_Pin */
  GPIO_InitStruct.Pin = SEG18_Pin|SEG5_Pin|SEG17_Pin|SEG6_Pin
                          |SEG16_Pin|SEG7_Pin|SEG15_Pin|SEG8_Pin;
  GPIO_InitStruct.Mode = GPIO_MODE_AF_PP;
  GPIO_InitStruct.Pull = GPIO_NOPULL;
  GPIO_InitStruct.Speed = GPIO_SPEED_FREQ_LOW;
  GPIO_InitStruct.Alternate = GPIO_AF11_LCD;
  HAL_GPIO_Init(GPIOD, &GPIO_InitStruct);

  /*Configure GPIO pins : OTG_FS_PowerSwitchOn_Pin OTG_FS_VBUS_Pin */
  GPIO_InitStruct.Pin = OTG_FS_PowerSwitchOn_Pin|OTG_FS_VBUS_Pin;
  GPIO_InitStruct.Mode = GPIO_MODE_OUTPUT_PP;
  GPIO_InitStruct.Pull = GPIO_NOPULL;
  GPIO_InitStruct.Speed = GPIO_SPEED_FREQ_LOW;
  HAL_GPIO_Init(GPIOC, &GPIO_InitStruct);

  /*Configure GPIO pins : OTG_FS_DM_Pin OTG_FS_DP_Pin */
  GPIO_InitStruct.Pin = OTG_FS_DM_Pin|OTG_FS_DP_Pin;
  GPIO_InitStruct.Mode = GPIO_MODE_AF_PP;
  GPIO_InitStruct.Pull = GPIO_NOPULL;
  GPIO_InitStruct.Speed = GPIO_SPEED_FREQ_VERY_HIGH;
  GPIO_InitStruct.Alternate = GPIO_AF10_OTG_FS;
  HAL_GPIO_Init(GPIOA, &GPIO_InitStruct);

  /*Configure GPIO pins : EXT_RST_Pin GYRO_INT1_Pin */
  GPIO_InitStruct.Pin = EXT_RST_Pin|GYRO_INT1_Pin;
  GPIO_InitStruct.Mode = GPIO_MODE_EVT_RISING;
  GPIO_InitStruct.Pull = GPIO_NOPULL;
  HAL_GPIO_Init(GPIOD, &GPIO_InitStruct);

  /*Configure GPIO pins : MEMS_SCK_Pin MEMS_MISO_Pin MEMS_MOSI_Pin */
  GPIO_InitStruct.Pin = MEMS_SCK_Pin|MEMS_MISO_Pin|MEMS_MOSI_Pin;
  GPIO_InitStruct.Mode = GPIO_MODE_AF_PP;
  GPIO_InitStruct.Pull = GPIO_NOPULL;
  GPIO_InitStruct.Speed = GPIO_SPEED_FREQ_VERY_HIGH;
  GPIO_InitStruct.Alternate = GPIO_AF5_SPI2;
  HAL_GPIO_Init(GPIOD, &GPIO_InitStruct);

  /*Configure GPIO pins : USART_TX_Pin USART_RX_Pin */
  GPIO_InitStruct.Pin = USART_TX_Pin|USART_RX_Pin;
  GPIO_InitStruct.Mode = GPIO_MODE_AF_PP;
  GPIO_InitStruct.Pull = GPIO_PULLUP;
  GPIO_InitStruct.Speed = GPIO_SPEED_FREQ_VERY_HIGH;
  GPIO_InitStruct.Alternate = GPIO_AF7_USART2;
  HAL_GPIO_Init(GPIOD, &GPIO_InitStruct);

  /*Configure GPIO pin : GYRO_CS_Pin */
  GPIO_InitStruct.Pin = GYRO_CS_Pin;
  GPIO_InitStruct.Mode = GPIO_MODE_OUTPUT_PP;
  GPIO_InitStruct.Pull = GPIO_NOPULL;
  GPIO_InitStruct.Speed = GPIO_SPEED_FREQ_VERY_HIGH;
  HAL_GPIO_Init(GYRO_CS_GPIO_Port, &GPIO_InitStruct);

  /*Configure GPIO pin : M3V3_REG_ON_Pin */
  GPIO_InitStruct.Pin = M3V3_REG_ON_Pin;
  GPIO_InitStruct.Mode = GPIO_MODE_OUTPUT_PP;
  GPIO_InitStruct.Pull = GPIO_NOPULL;
  GPIO_InitStruct.Speed = GPIO_SPEED_FREQ_LOW;
  HAL_GPIO_Init(M3V3_REG_ON_GPIO_Port, &GPIO_InitStruct);

  /*Configure GPIO pins : I2C1_SCL_Pin I2C1_SDA_Pin */
  GPIO_InitStruct.Pin = I2C1_SCL_Pin|I2C1_SDA_Pin;
  GPIO_InitStruct.Mode = GPIO_MODE_AF_OD;
  GPIO_InitStruct.Pull = GPIO_PULLUP;
  GPIO_InitStruct.Speed = GPIO_SPEED_FREQ_VERY_HIGH;
  GPIO_InitStruct.Alternate = GPIO_AF4_I2C1;
  HAL_GPIO_Init(GPIOB, &GPIO_InitStruct);

  /*Configure GPIO pin : GYRO_INT2_Pin */
  GPIO_InitStruct.Pin = GYRO_INT2_Pin;
  GPIO_InitStruct.Mode = GPIO_MODE_EVT_RISING;
  GPIO_InitStruct.Pull = GPIO_NOPULL;
  HAL_GPIO_Init(GYRO_INT2_GPIO_Port, &GPIO_InitStruct);

  /*Configure GPIO pin : XL_CS_Pin */
  GPIO_InitStruct.Pin = XL_CS_Pin;
  GPIO_InitStruct.Mode = GPIO_MODE_OUTPUT_PP;
  GPIO_InitStruct.Pull = GPIO_NOPULL;
  GPIO_InitStruct.Speed = GPIO_SPEED_FREQ_LOW;
  HAL_GPIO_Init(XL_CS_GPIO_Port, &GPIO_InitStruct);

  /*Configure GPIO pin : XL_INT_Pin */
  GPIO_InitStruct.Pin = XL_INT_Pin;
  GPIO_InitStruct.Mode = GPIO_MODE_EVT_RISING;
  GPIO_InitStruct.Pull = GPIO_NOPULL;
  HAL_GPIO_Init(XL_INT_GPIO_Port, &GPIO_InitStruct);

}

void Error_Handler(void)
{
  __disable_irq();
  while (1)
  {
  }
}
